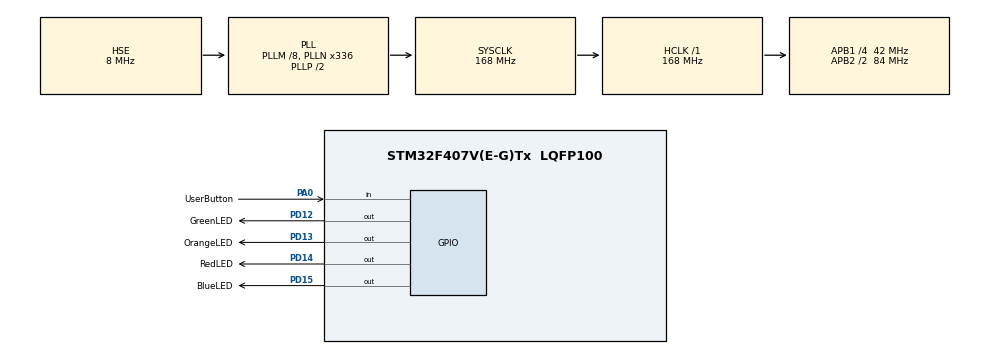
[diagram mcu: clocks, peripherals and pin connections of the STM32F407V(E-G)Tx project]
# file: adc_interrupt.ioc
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ADC1.Channel-1\#ChannelRegularConversion=ADC_CHANNEL_TEMPSENSOR
ADC1.ExternalTrigConv=ADC_EXTERNALTRIGCONV_T2_TRGO
ADC1.NbrOfConversionFlag=1
ADC1.Rank-1\#ChannelRegularConversion=1
ADC1.SamplingTime-1\#ChannelRegularConversion=ADC_SAMPLETIME_480CYCLES
ADC1.master=1
Mcu.Family=STM32F4
Mcu.Name=STM32F407V(E-G)Tx
Mcu.Package=LQFP100
NVIC.ADC_IRQn=true\:0\:0\:false\:false\:true\:true\:true\:true
NVIC.PriorityGroup=NVIC_PRIORITYGROUP_0
PA0-WKUP.GPIO_Label=UserButton
PA0-WKUP.Signal=GPIO_Input
PA13.Mode=Trace_Asynchronous_SW
PA13.Signal=SYS_JTMS-SWDIO
PA14.Mode=Trace_Asynchronous_SW
PA14.Signal=SYS_JTCK-SWCLK
PB3.Mode=Trace_Asynchronous_SW
PB3.Signal=SYS_JTDO-SWO
PD12.GPIO_Label=GreenLED
PD12.Signal=GPIO_Output
PD13.GPIO_Label=OrangeLED 
PD13.Signal=GPIO_Output
PD14.GPIO_Label=RedLED 
PD14.Signal=GPIO_Output
PD15.GPIO_Label=BlueLED 
PD15.Signal=GPIO_Output
PH0-OSC_IN.Mode=HSE-External-Oscillator
PH0-OSC_IN.Signal=RCC_OSC_IN
PH1-OSC_OUT.Mode=HSE-External-Oscillator
PH1-OSC_OUT.Signal=RCC_OSC_OUT
ProjectManager.HeapSize=0x200
ProjectManager.StackSize=0x400
ProjectManager.TargetToolchain=STM32CubeIDE
RCC.48MHZClocksFreq_Value=48000000
RCC.AHBFreq_Value=168000000
RCC.APB1CLKDivider=RCC_HCLK_DIV4
RCC.APB1Freq_Value=42000000
RCC.APB1TimFreq_Value=84000000
RCC.APB2CLKDivider=RCC_HCLK_DIV2
RCC.APB2Freq_Value=84000000
RCC.APB2TimFreq_Value=168000000
RCC.CortexFreq_Value=168000000
RCC.HCLKFreq_Value=168000000
RCC.HSE_VALUE=8000000
RCC.HSI_VALUE=16000000
RCC.LSE_VALUE=32768
RCC.PLLM=8
RCC.PLLN=336
RCC.PLLQ=7
RCC.PLLSourceVirtual=RCC_PLLSOURCE_HSE
RCC.SYSCLKFreq_VALUE=168000000
RCC.SYSCLKSource=RCC_SYSCLKSOURCE_PLLCLK
RCC.VCOOutputFreq_Value=336000000
TIM2.Period=9999
TIM2.Prescaler=8399
TIM2.TIM_MasterOutputTrigger=TIM_TRGO_UPDATE
VP_ADC1_TempSens_Input.Mode=IN-TempSens
VP_RNG_VS_RNG.Mode=RNG_Activate
VP_TIM2_VS_ClockSourceINT.Mode=Internal
board=STM32F407G-DISC1

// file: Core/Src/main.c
/* USER CODE BEGIN Header */
/**
  ******************************************************************************
  * @file           : main.c
  * @brief          : Main program body
  ******************************************************************************
  * @attention
  *
  * Copyright (c) 2024 STMicroelectronics.
  * All rights reserved.
  *
  * This software is licensed under terms that can be found in the LICENSE file
  * in the root directory of this software component.
  * If no LICENSE file comes with this software, it is provided AS-IS.
  *
  ******************************************************************************
  */
/* USER CODE END Header */
#include "main.h"
#include "adc.h"
#include "rng.h"
#include "tim.h"
#include "gpio.h"

/* USER CODE BEGIN Includes */
#include <stdio.h>

/* USER CODE END Includes */

/* USER CODE BEGIN PV */
uint32_t adc_input;
float V_sense;
float temperature;
/* USER CODE END PV */

void SystemClock_Config(void);
/* USER CODE BEGIN PFP */
int __io_putchar(int ch);
/* USER CODE END PFP */

/* USER CODE BEGIN 0 */
void HAL_ADC_ConvCpltCallback(ADC_HandleTypeDef *hadc)
{
     if(hadc->Instance == ADC1) {
	    adc_input = HAL_ADC_GetValue(&hadc1);
     }
     HAL_GPIO_TogglePin(OrangeLED_GPIO_Port, OrangeLED_Pin);
}

/* USER CODE END 0 */

int main(void)
{

  /* MCU Configuration--------------------------------------------------------*/

  /* Reset of all peripherals, Initializes the Flash interface and the Systick. */
  HAL_Init();

  /* Configure the system clock */
  SystemClock_Config();

  /* Initialize all configured peripherals */
  MX_GPIO_Init();
  MX_RNG_Init();
  MX_ADC1_Init();
  MX_TIM2_Init();
  /* USER CODE BEGIN 2 */
  HAL_TIM_Base_Start(&htim2);
  /* USER CODE END 2 */

  /* Infinite loop */
  /* USER CODE BEGIN WHILE */
  while (1)
  {
	  HAL_ADC_Start_IT(&hadc1);
	  // compute sense voltage from ADC value
	  V_sense = 3.0*adc_input/4095;
	  // compute temperature from sense voltage
	  temperature = (V_sense - 0.76)/2.5e-3 + 25;
	  // print temperature
	  printf("%4.1f\n", temperature);
	  HAL_Delay(200);

    /* USER CODE END WHILE */

  }
}

void SystemClock_Config(void)
{
  RCC_OscInitTypeDef RCC_OscInitStruct = {0};
  RCC_ClkInitTypeDef RCC_ClkInitStruct = {0};

  /** Configure the main internal regulator output voltage
  */
  __HAL_RCC_PWR_CLK_ENABLE();
  __HAL_PWR_VOLTAGESCALING_CONFIG(PWR_REGULATOR_VOLTAGE_SCALE1);

  /** Initializes the RCC Oscillators according to the specified parameters
  * in the RCC_OscInitTypeDef structure.
  */
  RCC_OscInitStruct.OscillatorType = RCC_OSCILLATORTYPE_HSE;
  RCC_OscInitStruct.HSEState = RCC_HSE_ON;
  RCC_OscInitStruct.PLL.PLLState = RCC_PLL_ON;
  RCC_OscInitStruct.PLL.PLLSource = RCC_PLLSOURCE_HSE;
  RCC_OscInitStruct.PLL.PLLM = 8;
  RCC_OscInitStruct.PLL.PLLN = 336;
  RCC_OscInitStruct.PLL.PLLP = RCC_PLLP_DIV2;
  RCC_OscInitStruct.PLL.PLLQ = 7;
  if (HAL_RCC_OscConfig(&RCC_OscInitStruct) != HAL_OK)
  {
    Error_Handler();
  }

  /** Initializes the CPU, AHB and APB buses clocks
  */
  RCC_ClkInitStruct.ClockType = RCC_CLOCKTYPE_HCLK|RCC_CLOCKTYPE_SYSCLK
                              |RCC_CLOCKTYPE_PCLK1|RCC_CLOCKTYPE_PCLK2;
  RCC_ClkInitStruct.SYSCLKSource = RCC_SYSCLKSOURCE_PLLCLK;
  RCC_ClkInitStruct.AHBCLKDivider = RCC_SYSCLK_DIV1;
  RCC_ClkInitStruct.APB1CLKDivider = RCC_HCLK_DIV4;
  RCC_ClkInitStruct.APB2CLKDivider = RCC_HCLK_DIV2;

  if (HAL_RCC_ClockConfig(&RCC_ClkInitStruct, FLASH_LATENCY_5) != HAL_OK)
  {
    Error_Handler();
  }
}

/* USER CODE BEGIN 4 */
int __io_putchar(int ch){
	ITM_SendChar(ch);
	return 0;
}
/* USER CODE END 4 */

void Error_Handler(void)
{
  __disable_irq();
  while (1)
  {
  }
}
